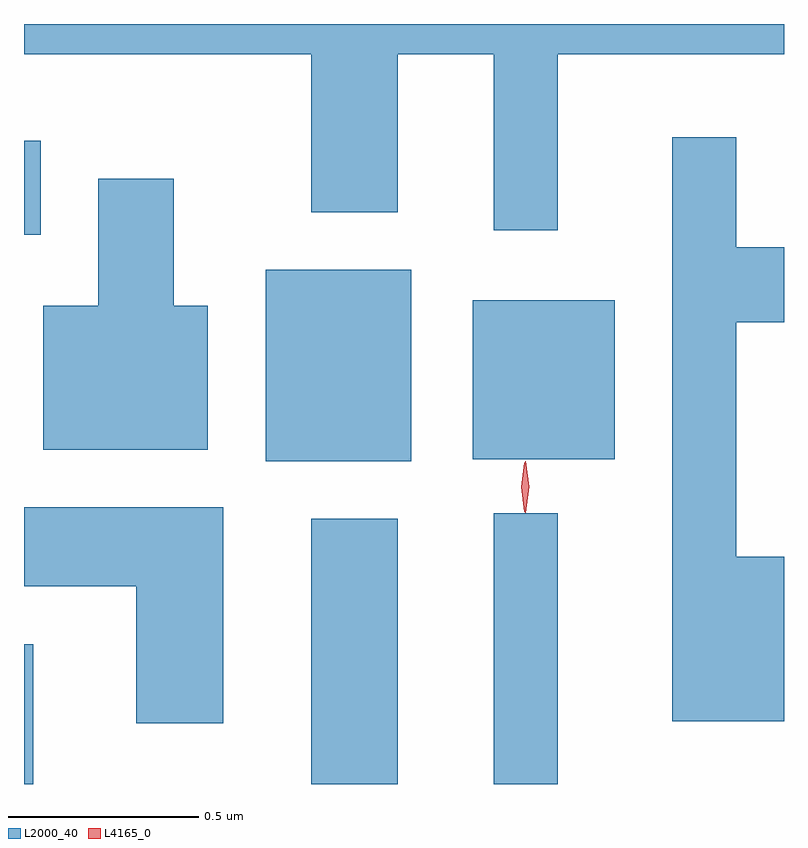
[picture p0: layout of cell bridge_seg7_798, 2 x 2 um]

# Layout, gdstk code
import gdstk
lib = gdstk.Library(unit=1e-6, precision=1e-09)
def R(c, l, rs):  # rectangles x0, y0, x1, y1
    for r in rs: c.add(gdstk.rectangle(r[:2], r[2:], *l))
def P(c, l, *ps):  # polygons
    for p in ps: c.add(gdstk.Polygon(p, *l))
L2000_40 = (2000, 40)
L4165_0 = (4165, 0)

bridge_seg7_798 = lib.new_cell('bridge_seg7_798')
R(bridge_seg7_798, L2000_40, [(255.185,1794.536,255.209,1794.904), (255.941,1794.536,256.169,1795.234), (256.421,1794.536,256.589,1795.248), (255.821,1795.386,256.204,1795.889), (256.366,1795.391,256.739,1795.809), (255.185,1795.981,255.229,1796.229)])
P(bridge_seg7_798, L2000_40, [(256.589,1796.456),(257.185,1796.456),(257.185,1796.536),(255.185,1796.536),(255.185,1796.456),(255.941,1796.456),(255.941,1796.041),(256.169,1796.041),(256.169,1796.456),(256.421,1796.456),(256.421,1795.993),(256.589,1795.993)],
  [(257.185,1795.134),(257.059,1795.134),(257.059,1795.751),(257.185,1795.751),(257.185,1795.949),(257.059,1795.949),(257.059,1796.238),(256.891,1796.238),(256.891,1794.701),(257.185,1794.701)],
  [(255.669,1795.794),(255.579,1795.794),(255.579,1796.129),(255.381,1796.129),(255.381,1795.794),(255.236,1795.794),(255.236,1795.416),(255.669,1795.416)],
  [(255.709,1795.264),(255.185,1795.264),(255.185,1795.056),(255.481,1795.056),(255.481,1794.696),(255.709,1794.696)])
P(bridge_seg7_798, L4165_0, [(256.502,1795.253),(256.493,1795.318),(256.502,1795.381),(256.503,1795.382),(256.504,1795.381),(256.513,1795.318),(256.504,1795.253),(256.503,1795.253)],
  [(256.504,1795.25),(256.495,1795.318),(256.504,1795.386),(256.504,1795.386),(256.505,1795.386),(256.515,1795.318),(256.505,1795.25),(256.505,1795.25)])

lib.write_gds('bridge_seg7_798.gds')
